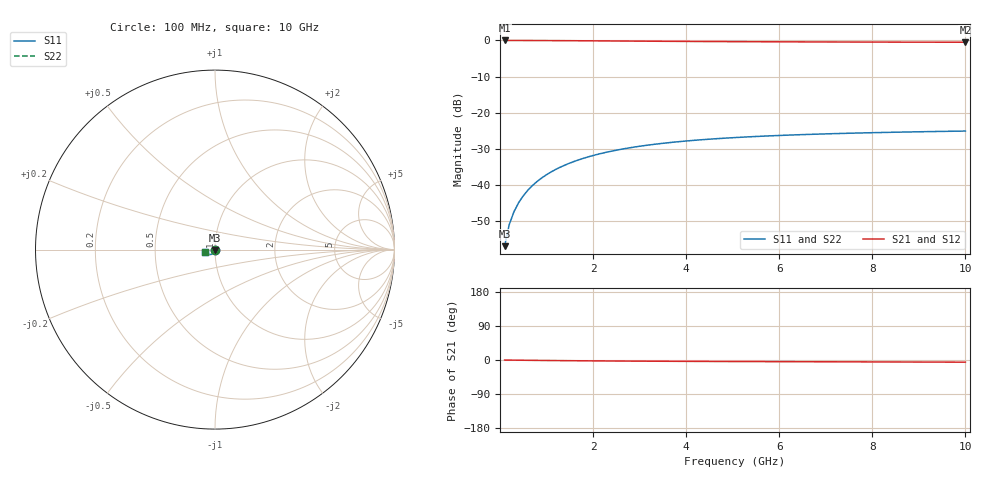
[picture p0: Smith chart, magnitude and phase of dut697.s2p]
! Touchstone file exported from HFSS 2024.1.0
!  File:  C:/UserFiles/LocalFiles/RDL_TSV_Batchsim/temp_TSV1_697_1779796733.aedt
!  Generated:  08:03:27 PM May 26, 2026
!  Design:  TSV1
!  Project:  temp_TSV1_697_1779796733
!  Setup:  Setup1
!  Solution:  Sweep
! Variables:
!  dtsv = 9.87um
!  hbump = 3um
!  htsv = 91.05um
!  lrdl = 252.1521522um
!  p = 40
!  p1 = 41.56um
!  t = 500um
!  trdl = 3um
!  wrdl = 24.89489489um
# GHz S MA R 50.000000
! Terminal data exported
! Port[1] = TSV22_T1
! Port[2] = TSV22_T2
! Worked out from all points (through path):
!   100 points, 100 MHz to 10 GHz, reference 50 ohm
!   highest |S21| = 0.00 dB at 100 MHz (marker M1); lowest = -0.5 dB at 10 GHz (marker M2)
!   lowest |S11| = -56.9 dB at 100 MHz (marker M3), VSWR 1.00, Z = 50 - j0.142 ohm
!   |S11| at or under -10 dB: start of sweep to end of sweep
!   |S22| runs from -56.9 to -25.1 dB; largest |S21 - S12| = 6.3e-15
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0.1  0.001429 -84.9  0.9998 -0.1  0.9998 -0.1  0.001429 -84.9
! Gamma 0 0 0 0
! Port Impedance 50 0 50 0
0.2  0.002847 -89.5  0.9997 -0.3  0.9997 -0.3  0.002847 -89.5
0.3  0.004268 -92.1  0.9995 -0.4  0.9995 -0.4  0.004268 -92.1
0.4  0.005686 -94.1  0.9992 -0.5  0.9992 -0.5  0.005686 -94.1
0.5  0.007096 -96.0  0.9988 -0.7  0.9988 -0.7  0.007096 -96.0
0.6  0.008494 -97.7  0.9984 -0.8  0.9984 -0.8  0.008494 -97.7
0.7  0.009877 -99.4  0.9979 -0.9  0.9979 -0.9  0.009877 -99.4
0.8  0.01124 -101.0  0.9974 -1.0  0.9974 -1.0  0.01124 -101.0
0.9  0.01259 -102.5  0.9968 -1.2  0.9968 -1.2  0.01259 -102.5
1.1  0.01521 -105.6  0.9954 -1.4  0.9954 -1.4  0.01521 -105.6
1.4  0.01894 -109.9  0.9931 -1.7  0.9931 -1.7  0.01894 -109.9
1.6  0.02129 -112.7  0.9914 -1.9  0.9914 -1.9  0.02129 -112.7
1.8  0.02352 -115.3  0.9896 -2.1  0.9896 -2.1  0.02352 -115.3
2.1  0.02664 -119.1  0.9867 -2.4  0.9867 -2.4  0.02664 -119.1
2.5  0.03037 -123.8  0.9829 -2.7  0.9829 -2.7  0.03037 -123.8
2.9  0.03365 -128.0  0.9791 -3.0  0.9791 -3.0  0.03365 -128.0
3.4  0.03717 -132.8  0.9746 -3.3  0.9746 -3.3  0.03717 -132.8
4.2  0.04171 -139.4  0.9682 -3.7  0.9682 -3.7  0.04171 -139.4
5.1  0.04558 -145.6  0.9623 -4.0  0.9623 -4.0  0.04558 -145.6
6.7  0.05036 -154.4  0.9543 -4.6  0.9543 -4.6  0.05036 -154.4
8.4  0.05368 -161.5  0.9485 -5.2  0.9485 -5.2  0.05368 -161.5
10  0.05584 -167.0  0.9446 -5.7  0.9446 -5.7  0.05584 -167.0
